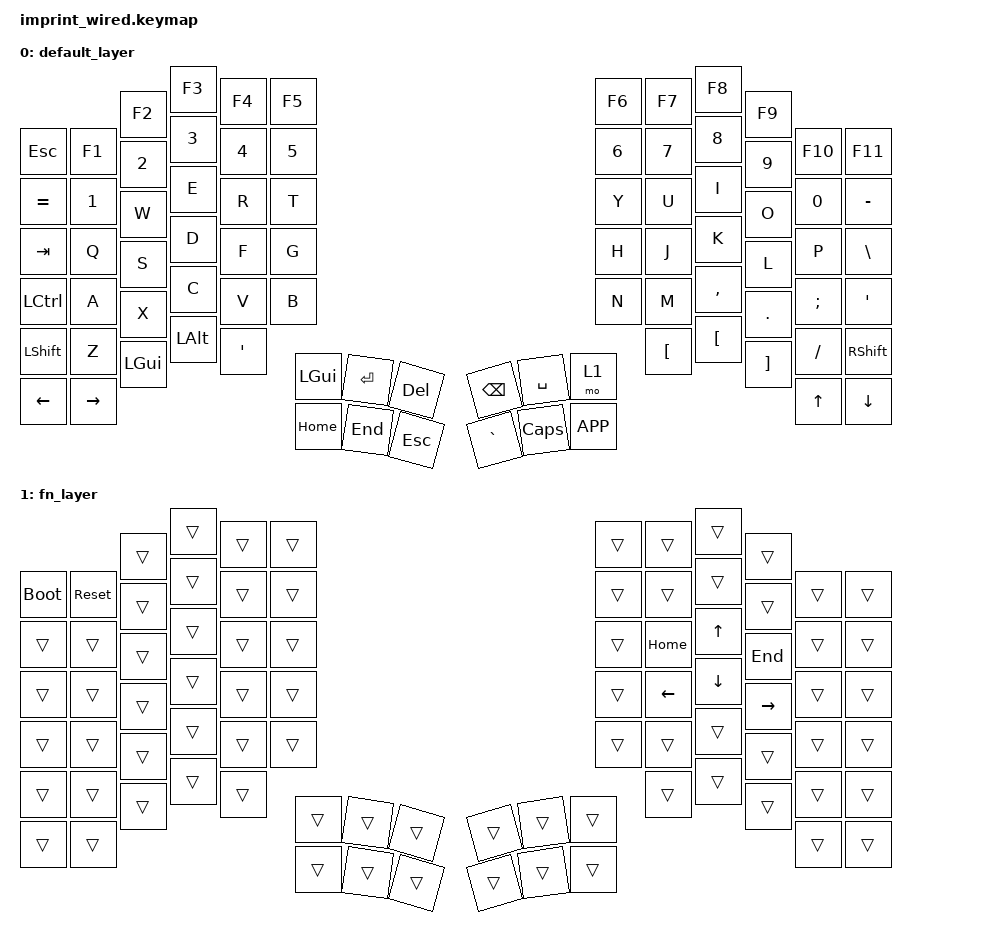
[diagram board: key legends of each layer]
/*
 * Wired Imprint keymap (function row, 5-key bottom row) — spike default.
 *
 * Ported from the wired vial-qmk base layer
 * (keyboards/cyboard/imprint/imprint_function_row_5key_bottom_row). Bindings
 * are in this shield's matrix-transform order (82 keys); the per-key
 * correspondence to the physical board still needs bench verification against
 * the schematic. Users edit this live in Cyboard Studio once unlocked
 * (hold the A + F keys 3 s).
 */

#include <behaviors.dtsi>
#include <dt-bindings/zmk/keys.h>

/ {
    keymap {
        compatible = "zmk,keymap";

        default_layer {
            bindings = <
&kp ESC    &kp F1     &kp F2    &kp F3    &kp F4    &kp F5              &kp F6     &kp F7    &kp F8     &kp F9    &kp F10   &kp F11
&kp EQUAL  &kp N1     &kp N2    &kp N3    &kp N4    &kp N5              &kp N6     &kp N7    &kp N8     &kp N9    &kp N0    &kp MINUS
&kp TAB    &kp Q      &kp W     &kp E     &kp R     &kp T              &kp Y      &kp U     &kp I      &kp O     &kp P     &kp BSLH
&kp LCTRL  &kp A      &kp S     &kp D     &kp F     &kp G              &kp H      &kp J     &kp K      &kp L     &kp SEMI  &kp SQT
&kp LSHFT  &kp Z      &kp X     &kp C     &kp V     &kp B              &kp N      &kp M     &kp COMMA  &kp DOT   &kp FSLH  &kp RSHFT
&kp LEFT   &kp RIGHT  &kp LGUI  &kp LALT  &kp SQT                                 &kp LBKT  &kp LBKT   &kp RBKT  &kp UP    &kp DOWN
                                          &kp LGUI  &kp RET   &kp DEL      &kp BSPC   &kp SPACE &mo 1
                                          &kp HOME  &kp END   &kp ESC      &kp GRAVE  &kp CAPS  &kp K_APP
            >;
        };

        fn_layer {
            bindings = <
&bootloader &sys_reset &trans   &trans    &trans    &trans             &trans     &trans    &trans     &trans    &trans    &trans
&trans     &trans     &trans    &trans    &trans    &trans             &trans     &trans    &trans     &trans    &trans    &trans
&trans     &trans     &trans    &trans    &trans    &trans             &trans     &kp HOME  &kp UP     &kp END   &trans    &trans
&trans     &trans     &trans    &trans    &trans    &trans             &trans     &kp LEFT  &kp DOWN   &kp RIGHT &trans    &trans
&trans     &trans     &trans    &trans    &trans    &trans             &trans     &trans    &trans     &trans    &trans    &trans
&trans     &trans     &trans    &trans    &trans                                  &trans    &trans     &trans    &trans    &trans
                                          &trans    &trans    &trans       &trans     &trans    &trans
                                          &trans    &trans    &trans       &trans     &trans    &trans
            >;
        };
    };
};
